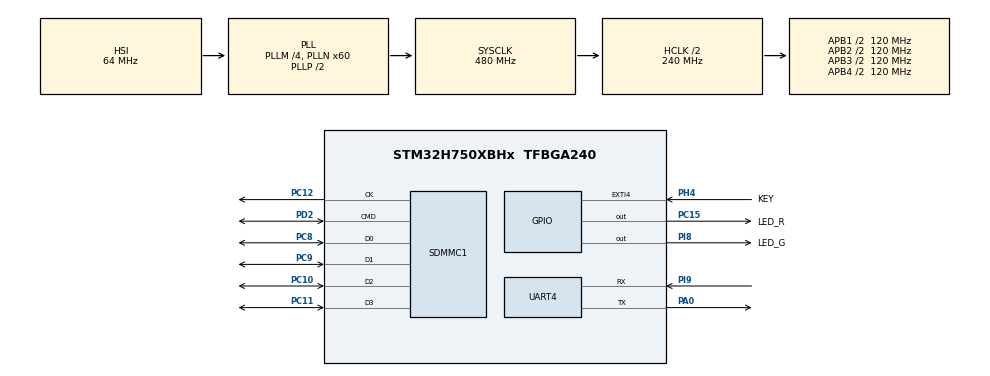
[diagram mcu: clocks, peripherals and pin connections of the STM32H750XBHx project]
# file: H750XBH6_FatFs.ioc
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CORTEX_M7.CPU_DCache=Enabled
CORTEX_M7.CPU_ICache=Enabled
CORTEX_M7.MPU_Control=__NULL
FATFS._MAX_SS=4096
FATFS._MIN_SS=4096
FATFS._USE_LFN=2
Mcu.Family=STM32H7
Mcu.Name=STM32H750XBHx
Mcu.Package=TFBGA240
NVIC.EXTI4_IRQn=true\:3\:0\:true\:false\:true\:true\:true
NVIC.PriorityGroup=NVIC_PRIORITYGROUP_4
NVIC.SDMMC1_IRQn=true\:2\:0\:true\:false\:true\:true\:true
NVIC.UART4_IRQn=true\:3\:0\:true\:false\:true\:true\:true
PA0.Mode=Asynchronous
PA0.Signal=UART4_TX
PC10.Mode=SD_4_bits_Wide_bus
PC10.Signal=SDMMC1_D2
PC11.Mode=SD_4_bits_Wide_bus
PC11.Signal=SDMMC1_D3
PC12.Mode=SD_4_bits_Wide_bus
PC12.Signal=SDMMC1_CK
PC15-OSC32_OUT\ (OSC32_OUT).GPIO_Label=LED_R
PC15-OSC32_OUT\ (OSC32_OUT).Signal=GPIO_Output
PC8.Mode=SD_4_bits_Wide_bus
PC8.Signal=SDMMC1_D0
PC9.Mode=SD_4_bits_Wide_bus
PC9.Signal=SDMMC1_D1
PD2.Mode=SD_4_bits_Wide_bus
PD2.Signal=SDMMC1_CMD
PH0-OSC_IN\ (PH0).Mode=HSE-External-Oscillator
PH0-OSC_IN\ (PH0).Signal=RCC_OSC_IN
PH1-OSC_OUT\ (PH1).Mode=HSE-External-Oscillator
PH1-OSC_OUT\ (PH1).Signal=RCC_OSC_OUT
PH4.GPIO_Label=KEY
PH4.GPIO_ModeDefaultEXTI=GPIO_MODE_IT_FALLING
PH4.GPIO_PuPd=GPIO_PULLUP
PH4.Signal=GPXTI4
PI8.GPIO_Label=LED_G
PI8.Signal=GPIO_Output
PI9.Mode=Asynchronous
PI9.Signal=UART4_RX
ProjectManager.HeapSize=0x600
ProjectManager.StackSize=0x800
ProjectManager.TargetToolchain=MDK-ARM V5.27
RCC.ADCFreq_Value=129000000
RCC.APB1Freq_Value=120000000
RCC.APB2Freq_Value=120000000
RCC.APB3Freq_Value=120000000
RCC.APB4Freq_Value=120000000
RCC.CortexFreq_Value=480000000
RCC.D1PPRE=RCC_APB3_DIV2
RCC.D2PPRE1=RCC_APB1_DIV2
RCC.D2PPRE2=RCC_APB2_DIV2
RCC.D3PPRE=RCC_APB4_DIV2
RCC.DIVM1=4
RCC.DIVN1=60
RCC.HCLKFreq_Value=240000000
RCC.HPRE=RCC_HCLK_DIV2
RCC.PLL2FRACN=0
RCC.PLL3FRACN=0
RCC.PLLFRACN=0
RCC.SYSCLKFreq_VALUE=480000000
RCC.SYSCLKSource=RCC_SYSCLKSOURCE_PLLCLK
RCC.USBFreq_Value=480000000
SDMMC1.ClockDiv=4
VP_FATFS_VS_SDIO.Mode=SDIO
board=custom

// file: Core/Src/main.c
/* USER CODE BEGIN Header */
/**
  ******************************************************************************
  * @file           : main.c
  * @brief          : Main program body
  ******************************************************************************
  * @attention
  *
  * <h2><center>&copy; Copyright (c) 2023 STMicroelectronics.
  * All rights reserved.</center></h2>
  *
  * This software component is licensed by ST under Ultimate Liberty license
  * SLA0044, the "License"; You may not use this file except in compliance with
  * the License. You may obtain a copy of the License at:
  *                             www.st.com/SLA0044
  *
  ******************************************************************************
  */
/* USER CODE END Header */
#include "main.h"
#include "fatfs.h"
#include "sdmmc.h"
#include "usart.h"
#include "gpio.h"

/* USER CODE BEGIN Includes */
#include <stdio.h>
#include "ffconf.h"
#include "SD_use.h"
/* USER CODE END Includes */

void SystemClock_Config(void);
/* USER CODE BEGIN PFP */

extern UART_HandleTypeDef huart4;

/* USER CODE END PFP */

/* USER CODE BEGIN 0 */
uint8_t SD_Test(void);
/* USER CODE END 0 */

int main(void)
{

  /* Enable I-Cache---------------------------------------------------------*/
  SCB_EnableICache();

  /* Enable D-Cache---------------------------------------------------------*/
  SCB_EnableDCache();

  /* MCU Configuration--------------------------------------------------------*/

  /* Reset of all peripherals, Initializes the Flash interface and the Systick. */
  HAL_Init();

  /* Configure the system clock */
  SystemClock_Config();

  /* Initialize all configured peripherals */
  MX_GPIO_Init();
  MX_UART4_Init();
  MX_SDMMC1_SD_Init();
  MX_FATFS_Init();
  /* USER CODE BEGIN 2 */
  HAL_Delay(10);
    show_sdcard_info(hsd1);
    SD_Test();
    FatFs_Check();			//判断FatFs是否挂载成功，若没有创建FatFs则格式化SD卡
	FatFs_GetVolume();	// 计算设备容量
	FatFs_FileTest();		//文件创建和写入测试
	ViewRootDir();
  /* USER CODE END 2 */

  /* Infinite loop */
  while (1)
  {

    /* USER CODE BEGIN 3 */

      LED_G_GPIO_Port->ODR^=LED_G_Pin;

      HAL_Delay(100);
  }
  /* USER CODE END 3 */
}

void SystemClock_Config(void)
{
  RCC_OscInitTypeDef RCC_OscInitStruct = {0};
  RCC_ClkInitTypeDef RCC_ClkInitStruct = {0};
  RCC_PeriphCLKInitTypeDef PeriphClkInitStruct = {0};

  /** Supply configuration update enable
  */
  HAL_PWREx_ConfigSupply(PWR_LDO_SUPPLY);
  /** Configure the main internal regulator output voltage
  */
  __HAL_PWR_VOLTAGESCALING_CONFIG(PWR_REGULATOR_VOLTAGE_SCALE0);

  while(!__HAL_PWR_GET_FLAG(PWR_FLAG_VOSRDY)) {}
  /** Initializes the RCC Oscillators according to the specified parameters
  * in the RCC_OscInitTypeDef structure.
  */
  RCC_OscInitStruct.OscillatorType = RCC_OSCILLATORTYPE_HSI;
  RCC_OscInitStruct.HSIState = RCC_HSI_DIV1;
  RCC_OscInitStruct.HSICalibrationValue = RCC_HSICALIBRATION_DEFAULT;
  RCC_OscInitStruct.PLL.PLLState = RCC_PLL_ON;
  RCC_OscInitStruct.PLL.PLLSource = RCC_PLLSOURCE_HSI;
  RCC_OscInitStruct.PLL.PLLM = 4;
  RCC_OscInitStruct.PLL.PLLN = 60;
  RCC_OscInitStruct.PLL.PLLP = 2;
  RCC_OscInitStruct.PLL.PLLQ = 4;
  RCC_OscInitStruct.PLL.PLLR = 2;
  RCC_OscInitStruct.PLL.PLLRGE = RCC_PLL1VCIRANGE_3;
  RCC_OscInitStruct.PLL.PLLVCOSEL = RCC_PLL1VCOWIDE;
  RCC_OscInitStruct.PLL.PLLFRACN = 0;
  if (HAL_RCC_OscConfig(&RCC_OscInitStruct) != HAL_OK)
  {
    Error_Handler();
  }
  /** Initializes the CPU, AHB and APB buses clocks
  */
  RCC_ClkInitStruct.ClockType = RCC_CLOCKTYPE_HCLK|RCC_CLOCKTYPE_SYSCLK
                              |RCC_CLOCKTYPE_PCLK1|RCC_CLOCKTYPE_PCLK2
                              |RCC_CLOCKTYPE_D3PCLK1|RCC_CLOCKTYPE_D1PCLK1;
  RCC_ClkInitStruct.SYSCLKSource = RCC_SYSCLKSOURCE_PLLCLK;
  RCC_ClkInitStruct.SYSCLKDivider = RCC_SYSCLK_DIV1;
  RCC_ClkInitStruct.AHBCLKDivider = RCC_HCLK_DIV2;
  RCC_ClkInitStruct.APB3CLKDivider = RCC_APB3_DIV2;
  RCC_ClkInitStruct.APB1CLKDivider = RCC_APB1_DIV2;
  RCC_ClkInitStruct.APB2CLKDivider = RCC_APB2_DIV2;
  RCC_ClkInitStruct.APB4CLKDivider = RCC_APB4_DIV2;

  if (HAL_RCC_ClockConfig(&RCC_ClkInitStruct, FLASH_LATENCY_4) != HAL_OK)
  {
    Error_Handler();
  }
  PeriphClkInitStruct.PeriphClockSelection = RCC_PERIPHCLK_UART4|RCC_PERIPHCLK_SDMMC;
  PeriphClkInitStruct.SdmmcClockSelection = RCC_SDMMCCLKSOURCE_PLL;
  PeriphClkInitStruct.Usart234578ClockSelection = RCC_USART234578CLKSOURCE_D2PCLK1;
  if (HAL_RCCEx_PeriphCLKConfig(&PeriphClkInitStruct) != HAL_OK)
  {
    Error_Handler();
  }
}

/* USER CODE BEGIN 4 */
int NumOf_Blocks=64;
static uint8_t SD_ReadBuffer[512*64];	//	读数据数组
uint8_t SD_Test(void)
{
	uint32_t i = 0;
	uint32_t ExecutionTime_Begin;		// 开始时间
	uint32_t ExecutionTime_End;		// 结束时间
	uint32_t ExecutionTime;				// 执行时间
	float    ExecutionSpeed;			// 执行速度
    int32_t SD_Status ;

// 读取 >>>>>>>
	ExecutionTime_Begin 	= HAL_GetTick();	// 获取 systick 当前时间，单位ms
	SD_Status = HAL_SD_ReadBlocks(&hsd1,SD_ReadBuffer, 0, NumOf_Blocks,NumOf_Blocks*100);	//块读取
	while(HAL_SD_GetCardState(&hsd1) != HAL_SD_CARD_TRANSFER);	//等待通信结束
	ExecutionTime_End		= HAL_GetTick();	// 获取 systick 当前时间，单位ms

	ExecutionTime  = ExecutionTime_End - ExecutionTime_Begin; 						// 计算擦除时间，单位ms
	ExecutionSpeed = (float)BLOCKSIZE * NumOf_Blocks / ExecutionTime / 1024 ; 	// 计算读取速度，单位 MB/S

	if( SD_Status == HAL_SD_ERROR_NONE )
	{
		printf ("\r\n读取成功,数据大小：%d KB, 耗时: %d ms, 读取速度：%.2f MB/s \r\n",BLOCKSIZE * NumOf_Blocks/1024,ExecutionTime,ExecutionSpeed);
	}
	else
	{
		printf ("\r\n读取错误!!!!!  错误代码:%d\r\n",SD_Status);
//		while (1);
	}

	return 0; 	//数据正确，读写测试通过
}
/* USER CODE END 4 */

void Error_Handler(void)
{
  __disable_irq();
  while (1)
  {
  }
}

/************************ (C) COPYRIGHT STMicroelectronics *****END OF FILE****/
